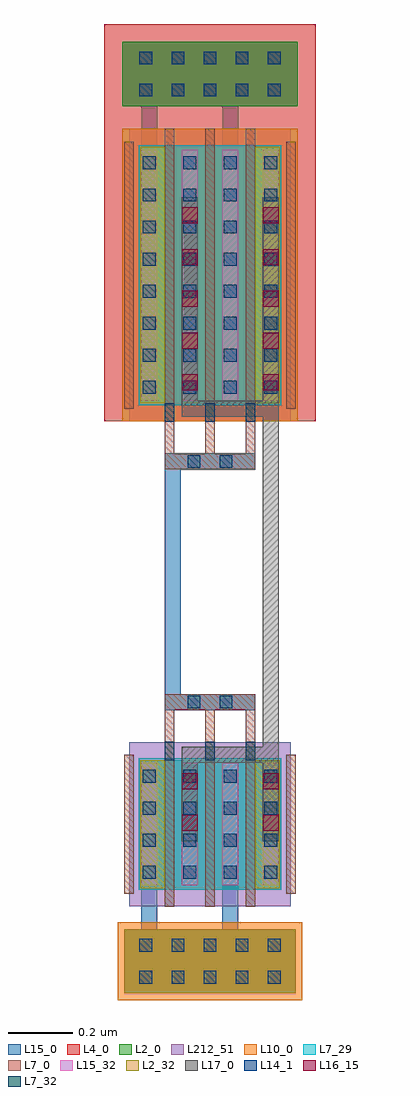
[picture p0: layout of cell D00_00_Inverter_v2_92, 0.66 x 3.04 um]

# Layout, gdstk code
import gdstk
lib = gdstk.Library(unit=1e-6, precision=1e-09)
def R(c, l, rs):  # rectangles x0, y0, x1, y1
    for r in rs: c.add(gdstk.rectangle(r[:2], r[2:], *l))
def A(c, l, x, y, w, h, nx, ny, dx, dy):  # array of equal rectangles
    R(c, l, [(x+i*dx, y+j*dy, x+i*dx+w, y+j*dy+h) for i in range(nx) for j in range(ny)])
def P(c, l, *ps):  # polygons
    for p in ps: c.add(gdstk.Polygon(p, *l))
L2_0 = (2, 0)
L2_32 = (2, 32)
L4_0 = (4, 0)
L7_0 = (7, 0)
L7_29 = (7, 29)
L7_32 = (7, 32)
L10_0 = (10, 0)
L14_1 = (14, 1)
L15_0 = (15, 0)
L15_32 = (15, 32)
L16_15 = (16, 15)
L17_0 = (17, 0)
L212_51 = (212, 51)

d00_00_inverter_v2_92_sr = lib.new_cell('D00_00_Inverter_v2_92:SRF_NMOS:SRF_Drain_ViaM1M2:SRF_ViaM1M2')
R(d00_00_inverter_v2_92_sr, L15_0, [(0,-0.162,0.05,0.082)])
R(d00_00_inverter_v2_92_sr, L16_15, [(0,-0.13,0.05,-0.08), (0,0,0.05,0.05)])
R(d00_00_inverter_v2_92_sr, L17_0, [(0,-0.162,0.05,0.082)])

c_d00_00_inverter_v2_92_sr = lib.new_cell('D00_00_Inverter_v2_92:SRF_NMOS:SRF_Drain_ViaM1M2')
c_d00_00_inverter_v2_92_sr.add(gdstk.Reference(d00_00_inverter_v2_92_sr, (-0.025,0.04)))

c_d00_00_inverter_v2_92_sr_ = lib.new_cell('D00_00_Inverter_v2_92:SRF_NMOS:SRF_Gate_ViaM0Mx:SRF_ViaM0M1')
R(c_d00_00_inverter_v2_92_sr_, L7_0, [(-0.01,-0.004,0.15,0.044)])
R(c_d00_00_inverter_v2_92_sr_, L14_1, [(0,0,0.04,0.04), (0.1,0,0.14,0.04)])
R(c_d00_00_inverter_v2_92_sr_, L15_0, [(-0.021,-0.005,0.161,0.045)])

c_d00_00_inverter_v2_92_sr__ = lib.new_cell('D00_00_Inverter_v2_92:SRF_NMOS:SRF_Gate_ViaM0Mx')
c_d00_00_inverter_v2_92_sr__.add(gdstk.Reference(c_d00_00_inverter_v2_92_sr_, (-0.07,-0.02)))

c_d00_00_inverter_v2_92_sr___ = lib.new_cell('D00_00_Inverter_v2_92:SRF_NMOS')
R(c_d00_00_inverter_v2_92_sr___, L2_0, [(-0.076,0.057,0.358,0.457)])
R(c_d00_00_inverter_v2_92_sr___, L2_32, [(-0.076,0.057,0,0.457), (0.282,0.057,0.358,0.457)])
A(c_d00_00_inverter_v2_92_sr___, L7_0, 0, 0, 0.03, 0.514, 3, 1, 0.126, 0)
A(c_d00_00_inverter_v2_92_sr___, L7_0, 0, 0.514, 0.03, 0.1, 3, 1, 0.126, 0)
R(c_d00_00_inverter_v2_92_sr___, L7_0, [(-0.126,0.041,-0.096,0.473), (0.378,0.041,0.408,0.473), (0,0.614,0.282,0.662)])
R(c_d00_00_inverter_v2_92_sr___, L7_29, [(-0.081,0.052,0.363,0.462)])
A(c_d00_00_inverter_v2_92_sr___, L7_32, 0, 0.457, 0.03, 0.057, 3, 1, 0.126, 0)
A(c_d00_00_inverter_v2_92_sr___, L14_1, -0.068, 0.087, 0.04, 0.04, 4, 4, 0.126, 0.1)
R(c_d00_00_inverter_v2_92_sr___, L15_0, [(-0.073,0.066,-0.023,0.448), (-0.073,0.066,-0.023,0.448), (0.053,0.066,0.103,0.448), (0.053,0.066,0.103,0.448), (0.179,0.066,0.229,0.448), (0.179,0.066,0.229,0.448), (0.305,0.066,0.355,0.448), (0.305,0.066,0.355,0.448), (0,0.613,0.282,0.663)])
A(c_d00_00_inverter_v2_92_sr___, L15_32, -0.073, 0.066, 0.05, 0.382, 4, 1, 0.126, 0)
R(c_d00_00_inverter_v2_92_sr___, L17_0, [(0.053,0.448,0.355,0.498)])
P(c_d00_00_inverter_v2_92_sr___, L17_0, [(0.053,0.448),(0.103,0.448),(0.103,0.448),(0.053,0.448)],
  [(0.305,0.448),(0.355,0.448),(0.355,0.448),(0.305,0.448)])
R(c_d00_00_inverter_v2_92_sr___, L212_51, [(-0.111,0.001,0.393,0.513)])
c_d00_00_inverter_v2_92_sr___.add(gdstk.Reference(c_d00_00_inverter_v2_92_sr, (0.078,0.326)))
c_d00_00_inverter_v2_92_sr___.add(gdstk.Reference(c_d00_00_inverter_v2_92_sr, (0.33,0.326)))
c_d00_00_inverter_v2_92_sr___.add(gdstk.Reference(c_d00_00_inverter_v2_92_sr__, (0.141,0.638)))

c_d00_00_inverter_v2_92_sr____ = lib.new_cell('D00_00_Inverter_v2_92:SRF_Pbody:SRF_PbodyContactPhyLen')
R(c_d00_00_inverter_v2_92_sr____, L2_0, [(-0.047,-0.13,0.487,0.07)])
R(c_d00_00_inverter_v2_92_sr____, L10_0, [(-0.068,-0.151,0.508,0.091)])
A(c_d00_00_inverter_v2_92_sr____, L14_1, 0, -0.1, 0.04, 0.04, 5, 2, 0.1, 0.1)
R(c_d00_00_inverter_v2_92_sr____, L15_0, [(-0.047,-0.13,0.487,0.07)])

c_d00_00_inverter_v2_92_sr_____ = lib.new_cell('D00_00_Inverter_v2_92:SRF_Pbody')
c_d00_00_inverter_v2_92_sr_____.add(gdstk.Reference(c_d00_00_inverter_v2_92_sr____, (0,0)))

c_d00_00_inverter_v2_92_sr______ = lib.new_cell('D00_00_Inverter_v2_92:SRF_PMOS:SRF_Drain_ViaM1M2:SRF_ViaM1M2')
R(c_d00_00_inverter_v2_92_sr______, L15_0, [(0,-0.552,0.05,0.082)])
A(c_d00_00_inverter_v2_92_sr______, L16_15, 0, -0.52, 0.05, 0.05, 1, 5, 0, 0.13)
R(c_d00_00_inverter_v2_92_sr______, L17_0, [(0,-0.552,0.05,0.082)])

c_d00_00_inverter_v2_92_sr_______ = lib.new_cell('D00_00_Inverter_v2_92:SRF_PMOS:SRF_Drain_ViaM1M2')
c_d00_00_inverter_v2_92_sr_______.add(gdstk.Reference(c_d00_00_inverter_v2_92_sr______, (-0.025,0.235)))

c_d00_00_inverter_v2_92_sr________ = lib.new_cell('D00_00_Inverter_v2_92:SRF_PMOS:SRF_Gate_ViaM0Mx:SRF_ViaM0M1')
R(c_d00_00_inverter_v2_92_sr________, L7_0, [(-0.01,-0.004,0.15,0.044)])
R(c_d00_00_inverter_v2_92_sr________, L14_1, [(0,0,0.04,0.04), (0.1,0,0.14,0.04)])
R(c_d00_00_inverter_v2_92_sr________, L15_0, [(-0.021,-0.005,0.161,0.045)])

c_d00_00_inverter_v2_92_sr_________ = lib.new_cell('D00_00_Inverter_v2_92:SRF_PMOS:SRF_Gate_ViaM0Mx')
c_d00_00_inverter_v2_92_sr_________.add(gdstk.Reference(c_d00_00_inverter_v2_92_sr________, (-0.07,-0.02)))

c_d00_00_inverter_v2_92_sr__________ = lib.new_cell('D00_00_Inverter_v2_92:SRF_PMOS')
R(c_d00_00_inverter_v2_92_sr__________, L2_0, [(-0.076,0.057,0.358,0.857)])
R(c_d00_00_inverter_v2_92_sr__________, L2_32, [(-0.076,0.057,0,0.857), (0.282,0.057,0.358,0.857)])
A(c_d00_00_inverter_v2_92_sr__________, L7_0, 0, -0.1, 0.03, 0.1, 3, 1, 0.126, 0)
A(c_d00_00_inverter_v2_92_sr__________, L7_0, 0, 0, 0.03, 0.914, 3, 1, 0.126, 0)
R(c_d00_00_inverter_v2_92_sr__________, L7_0, [(0,-0.148,0.282,-0.1), (-0.126,0.041,-0.096,0.873), (0.378,0.041,0.408,0.873)])
R(c_d00_00_inverter_v2_92_sr__________, L7_29, [(-0.081,0.052,0.363,0.862)])
A(c_d00_00_inverter_v2_92_sr__________, L7_32, 0, 0, 0.03, 0.057, 3, 1, 0.126, 0)
R(c_d00_00_inverter_v2_92_sr__________, L10_0, [(-0.132,0.001,0.414,0.913)])
A(c_d00_00_inverter_v2_92_sr__________, L14_1, -0.068, 0.087, 0.04, 0.04, 4, 8, 0.126, 0.1)
R(c_d00_00_inverter_v2_92_sr__________, L15_0, [(0,-0.149,0.282,-0.099), (-0.073,0.066,-0.023,0.848), (-0.073,0.066,-0.023,0.848), (0.053,0.066,0.103,0.848), (0.053,0.066,0.103,0.848), (0.179,0.066,0.229,0.848), (0.179,0.066,0.229,0.848), (0.305,0.066,0.355,0.848), (0.305,0.066,0.355,0.848)])
A(c_d00_00_inverter_v2_92_sr__________, L15_32, -0.073, 0.066, 0.05, 0.782, 4, 1, 0.126, 0)
R(c_d00_00_inverter_v2_92_sr__________, L17_0, [(0.053,0.016,0.355,0.066)])
P(c_d00_00_inverter_v2_92_sr__________, L17_0, [(0.053,0.066),(0.103,0.066),(0.103,0.066),(0.053,0.066)],
  [(0.305,0.066),(0.355,0.066),(0.355,0.066),(0.305,0.066)])
R(c_d00_00_inverter_v2_92_sr__________, L212_51, [(-0.111,0.001,0.393,0.913)])
c_d00_00_inverter_v2_92_sr__________.add(gdstk.Reference(c_d00_00_inverter_v2_92_sr_______, (0.078,0.383)))
c_d00_00_inverter_v2_92_sr__________.add(gdstk.Reference(c_d00_00_inverter_v2_92_sr_______, (0.33,0.383)))
c_d00_00_inverter_v2_92_sr__________.add(gdstk.Reference(c_d00_00_inverter_v2_92_sr_________, (0.141,-0.124)))

c_d00_00_inverter_v2_92_sr___________ = lib.new_cell('D00_00_Inverter_v2_92:SRF_Nbody:SRF_NbodyContactPhyLen')
R(c_d00_00_inverter_v2_92_sr___________, L2_0, [(-0.053,-0.13,0.493,0.07)])
R(c_d00_00_inverter_v2_92_sr___________, L4_0, [(-0.109,-0.186,0.549,0.126)])
A(c_d00_00_inverter_v2_92_sr___________, L14_1, 0, -0.1, 0.04, 0.04, 5, 2, 0.1, 0.1)
R(c_d00_00_inverter_v2_92_sr___________, L15_0, [(-0.053,-0.13,0.493,0.07)])

c_d00_00_inverter_v2_92_sr____________ = lib.new_cell('D00_00_Inverter_v2_92:SRF_Nbody')
c_d00_00_inverter_v2_92_sr____________.add(gdstk.Reference(c_d00_00_inverter_v2_92_sr___________, (0,0)))

d00_00_inverter_v2_92 = lib.new_cell('D00_00_Inverter_v2_92')
R(d00_00_inverter_v2_92, L4_0, [(-0.188,1.513,0.47,2.752)])
R(d00_00_inverter_v2_92, L15_0, [(-0.073,-0.27,-0.023,0.448), (0.179,-0.27,0.229,0.448), (0,0.613,0.05,1.413), (-0.073,1.578,-0.023,2.696), (0.179,1.578,0.229,2.696)])
P(d00_00_inverter_v2_92, L15_0, [(0,0.613),(0,0.613),(0,0.663),(0,0.663)])
R(d00_00_inverter_v2_92, L17_0, [(0.305,0.448,0.355,1.578)])
P(d00_00_inverter_v2_92, L17_0, [(0.355,0.448),(0.355,0.448),(0.355,0.498),(0.355,0.498)])
d00_00_inverter_v2_92.add(gdstk.Reference(c_d00_00_inverter_v2_92_sr___, (0,0)))
d00_00_inverter_v2_92.add(gdstk.Reference(c_d00_00_inverter_v2_92_sr_____, (-0.079,-0.14)))
d00_00_inverter_v2_92.add(gdstk.Reference(c_d00_00_inverter_v2_92_sr__________, (0,1.512)))
d00_00_inverter_v2_92.add(gdstk.Reference(c_d00_00_inverter_v2_92_sr____________, (-0.079,2.626)))

lib.write_gds('D00_00_Inverter_v2_92.gds')
